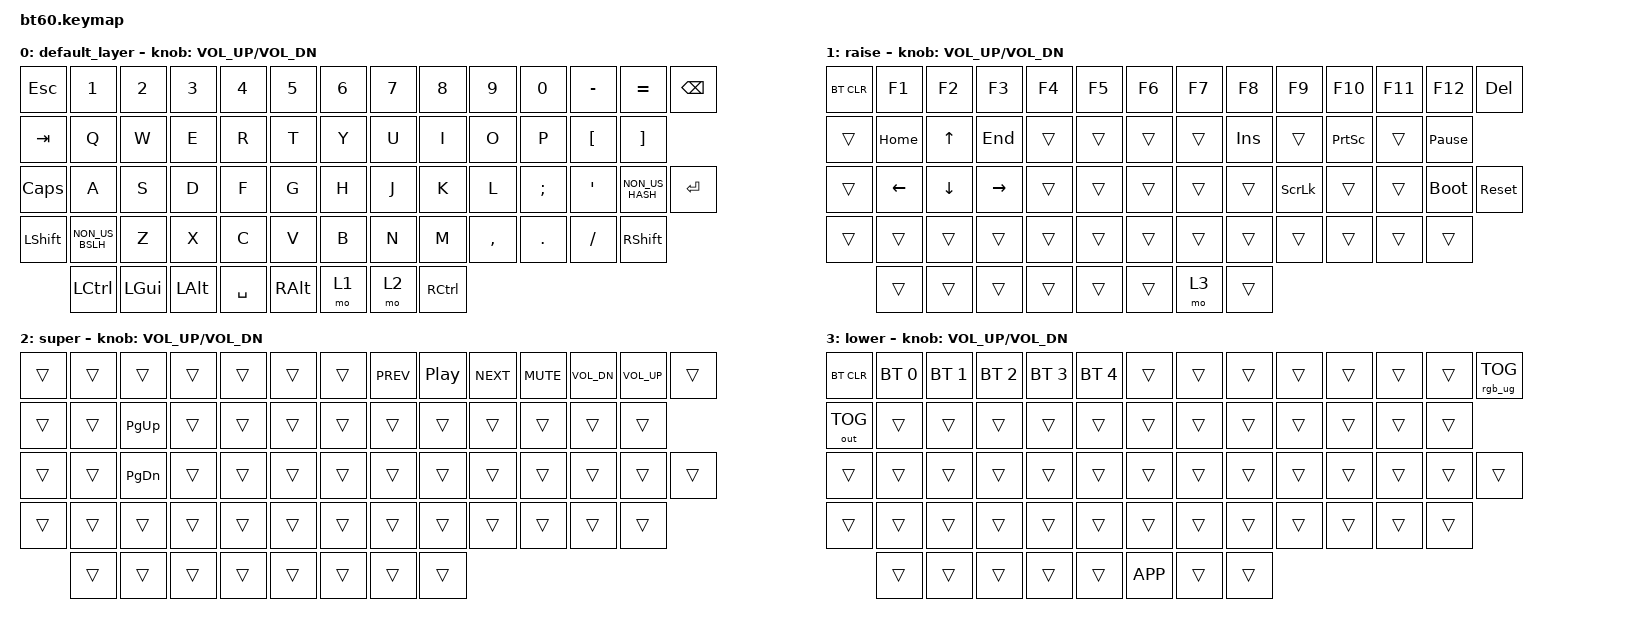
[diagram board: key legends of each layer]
#include <behaviors.dtsi>
#include <dt-bindings/zmk/bt.h>
#include <dt-bindings/zmk/keys.h>
#include <dt-bindings/zmk/rgb.h>

/ {
    keymap {
        compatible = "zmk,keymap";

        default_layer {
            // ------------------------------------------------------------------------------------------
            // |  `  |  1  |  2  |  3  |  4  |  5  |  6  |  7  |  8  |  9  |  0  |  -  |  =  |   BKSP
            // | TAB  |  Q  |  W  |  E  |  R  |  T  |  Y  |  U  |  I  |  O  |  P  |  [  |  ]  |        |
            // | CAPS  |  A  |  S  |  D  |  F  |  G  |  H  |  J  |  K  |  L  |  ;  |  '  |  #  | ENTER |
            // |  SHIFT|  \ |  Z  |  X  |  C  |  V  |  B  |  N  |  M  |  ,  |  .  | /   |    SHIFT    |
            // |  CTL  |  WIN  |  ALT  |            SPACE               | ALT | 1    |  MENU    |  CTRL|
            // ------------------------------------------------------------------------------------------

            bindings = <
  &kp ESC           &kp N1    &kp N2    &kp N3     &kp N4    &kp N5  &kp N6  &kp N7     &kp N8     &kp N9    &kp N0  &kp MINUS        &kp EQUAL  &kp BSPC
  &kp TAB            &kp Q     &kp W     &kp E      &kp R     &kp T   &kp Y   &kp U      &kp I      &kp O     &kp P   &kp LBKT         &kp RBKT
 &kp CAPS            &kp A     &kp S     &kp D      &kp F     &kp G   &kp H   &kp J      &kp K      &kp L  &kp SEMI    &kp SQT  &kp NON_US_HASH   &kp RET
&kp LSHFT  &kp NON_US_BSLH     &kp Z     &kp X      &kp C     &kp V   &kp B   &kp N      &kp M  &kp COMMA   &kp DOT   &kp FSLH        &kp RSHFT
                 &kp LCTRL  &kp LGUI  &kp LALT  &kp SPACE  &kp RALT   &mo 1   &mo 2  &kp RCTRL
            >;

            sensor-bindings = <&inc_dec_kp C_VOL_UP C_VOL_DN>;
        };

        raise {
            bindings = <
&bt BT_CLR    &kp F1    &kp F2     &kp F3  &kp F4  &kp F5  &kp F6  &kp F7   &kp F8    &kp F9    &kp F10  &kp F11          &kp F12     &kp DEL
    &trans  &kp HOME    &kp UP    &kp END  &trans  &trans  &trans  &trans  &kp INS    &trans  &kp PSCRN   &trans  &kp PAUSE_BREAK
    &trans  &kp LEFT  &kp DOWN  &kp RIGHT  &trans  &trans  &trans  &trans   &trans  &kp SLCK     &trans   &trans      &bootloader  &sys_reset
    &trans    &trans    &trans     &trans  &trans  &trans  &trans  &trans   &trans    &trans     &trans   &trans           &trans
              &trans    &trans     &trans  &trans  &trans  &trans   &mo 3   &trans
            >;

            sensor-bindings = <&inc_dec_kp C_VOL_UP C_VOL_DN>;
        };

        super {
            bindings = <
&trans  &trans     &trans  &trans  &trans  &trans  &trans  &kp C_PREV  &kp C_PP  &kp C_NEXT  &kp C_MUTE  &kp C_VOL_DN  &kp C_VOL_UP  &trans
&trans  &trans  &kp PG_UP  &trans  &trans  &trans  &trans      &trans    &trans      &trans      &trans        &trans        &trans
&trans  &trans  &kp PG_DN  &trans  &trans  &trans  &trans      &trans    &trans      &trans      &trans        &trans        &trans  &trans
&trans  &trans     &trans  &trans  &trans  &trans  &trans      &trans    &trans      &trans      &trans        &trans        &trans
        &trans     &trans  &trans  &trans  &trans  &trans      &trans    &trans
            >;
            
            sensor-bindings = <&inc_dec_kp C_VOL_UP C_VOL_DN>;
        };

        lower {
            bindings = <
&bt BT_CLR  &bt BT_SEL 0  &bt BT_SEL 1  &bt BT_SEL 2  &bt BT_SEL 3  &bt BT_SEL 4     &trans  &trans  &trans  &trans  &trans  &trans  &trans  &rgb_ug RGB_TOG
    &out OUT_TOG  &trans        &trans        &trans        &trans        &trans     &trans  &trans  &trans  &trans  &trans  &trans  &trans
    &trans        &trans        &trans        &trans        &trans        &trans     &trans  &trans  &trans  &trans  &trans  &trans  &trans           &trans
    &trans        &trans        &trans        &trans        &trans        &trans     &trans  &trans  &trans  &trans  &trans  &trans  &trans
                  &trans        &trans        &trans        &trans        &trans  &kp K_APP  &trans  &trans
            >;
            
            sensor-bindings = <&inc_dec_kp C_VOL_UP C_VOL_DN>;
        };
    };
};
